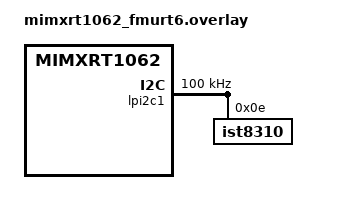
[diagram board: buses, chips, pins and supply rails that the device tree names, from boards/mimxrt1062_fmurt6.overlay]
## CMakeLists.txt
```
# SPDX-License-Identifier: Apache-2.0

cmake_minimum_required(VERSION 3.20.0)

find_package(Zephyr REQUIRED HINTS $ENV{ZEPHYR_BASE})
project(ist8310)

FILE(GLOB app_sources src/*.c)
target_sources(app PRIVATE ${app_sources})
```

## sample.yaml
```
# Copyright 2023 NXP
#
# SPDX-License-Identifier: Apache-2.0

sample:
	description: Demonstration of IST8310 MAG module
	name: IST8310 Sample
tests:
	sample.driver.ist8310:
		build_only: true
		platform_allow: rddrone_fmurt6
```

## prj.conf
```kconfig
CONFIG_SENSOR=y
CONFIG_I2C=y
CONFIG_IST8310=y
CONFIG_CBPRINTF_FP_SUPPORT=y
CONFIG_LOG=y
CONFIG_IST8310_LOG_LEVEL_DBG=y
CONFIG_LOG_BUFFER_SIZE=65536
```

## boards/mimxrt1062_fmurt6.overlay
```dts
/*
 * Copyright 2023 NXP
 *
 * SPDX-License-Identifier: Apache-2.0
 */

&pinctrl {
	pinmux_lpi2c1: pinmux_lpi2c1 {
		group0 {
			pinmux = <&iomuxc_gpio_ad_b1_01_lpi2c1_sda>,
							 <&iomuxc_gpio_ad_b1_00_lpi2c1_scl>;
			drive-strength = "r0-6";
			drive-open-drain;
			slew-rate = "slow";
			nxp,speed = "100-mhz";
			input-enable;
		};
	};
};

&lpi2c1 {
	status = "okay";
	pinctrl-0 = <&pinmux_lpi2c1>;
	pinctrl-names = "default";

	clock-frequency = <I2C_BITRATE_STANDARD>;

	ist8310: ist8310@e {
		status = "okay";
		compatible = "ist8310";
		reg = <0xe>;
	};
};
```

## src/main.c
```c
/*
 * Copyright 2023 NXP
 *
 * SPDX-License-Identifier: Apache-2.0
 */

#include <zephyr/kernel.h>
#include <zephyr/device.h>
#include <zephyr/drivers/i2c.h>

#include <zephyr/drivers/sensor/ist8310.h>

#include <zephyr/logging/log.h>
LOG_MODULE_DECLARE(ist8310, CONFIG_IST8310_LOG_LEVEL);

#define WAIT_TIME_MS            6

static const struct device *ist8310_dev;
static const struct ist8310_api *ist8310_api;

void main(void)
{
	ist8310_dev = DEVICE_DT_GET(DT_NODELABEL(ist8310));
	if (!device_is_ready(ist8310_dev)) {
		LOG_ERR("Device %s is not ready. Returning.", ist8310_dev->name);
		return;
	}

	ist8310_api = ist8310_dev->api;

	int ret = 0;

	while (true) {
		ret |= ist8310_api->read_data(ist8310_dev, WAIT_TIME_MS);
		ret |= ist8310_api->display_data(ist8310_dev);

		if (ret) {
			LOG_ERR("Error %d while reading data. Returning.", ret);
			return;
		}
	}
}
```
